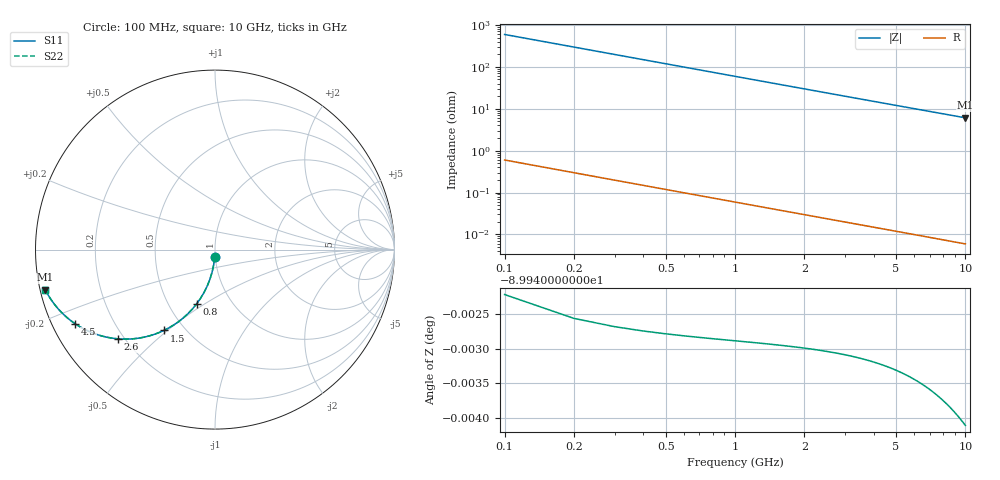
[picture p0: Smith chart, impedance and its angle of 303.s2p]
# Hz S RI R 50.00
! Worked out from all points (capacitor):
!   100 points, 100 MHz to 10 GHz, reference 50 ohm
!   read as one part in shunt: C = 2.69 pF near 100 MHz
!   lowest |Z| = 6.08 ohm at 10 GHz (marker M1)
!   S11 on the Smith chart (normalised r, x): 100 MHz: 0.99, -0.08; 800 MHz: 0.69, -0.46; 1.5 GHz: 0.39, -0.49; 2.6 GHz: 0.17, -0.38; 4.5 GHz: 0.07, -0.25; 10 GHz: 0.01, -0.12
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1e8  -0.00182 -0.0421  0.9982 -0.0422  0.9982 -0.0422  -0.00182 -0.0421
2e8  -0.00715 -0.0837  0.9928 -0.0838  0.9928 -0.0838  -0.00715 -0.0837
3e8  -0.0159 -0.1245  0.9841 -0.1246  0.9841 -0.1246  -0.0159 -0.1245
4e8  -0.0278 -0.1639  0.9722 -0.1641  0.9722 -0.1641  -0.0278 -0.1639
5e8  -0.0428 -0.2017  0.9572 -0.202  0.9572 -0.202  -0.0428 -0.2017
6e8  -0.0604 -0.2375  0.9396 -0.2378  0.9396 -0.2378  -0.0604 -0.2375
8e8  -0.1023 -0.3024  0.8977 -0.3028  0.8977 -0.3028  -0.1023 -0.3024
9e8  -0.126 -0.3311  0.874 -0.3316  0.874 -0.3316  -0.126 -0.3311
1.1e9  -0.1769 -0.3808  0.8231 -0.3814  0.8231 -0.3814  -0.1769 -0.3808
1.3e9  -0.2306 -0.4204  0.7694 -0.4211  0.7694 -0.4211  -0.2306 -0.4204
1.5e9  -0.2849 -0.4505  0.715 -0.4513  0.715 -0.4513  -0.2849 -0.4505
1.8e9  -0.3641 -0.4802  0.6359 -0.4812  0.6359 -0.4812  -0.3641 -0.4802
2.2e9  -0.4604 -0.4973  0.5396 -0.4985  0.5396 -0.4985  -0.4604 -0.4973
2.6e9  -0.5431 -0.4969  0.4569 -0.4984  0.4569 -0.4984  -0.5431 -0.4969
3e9  -0.6122 -0.4859  0.3878 -0.4876  0.3878 -0.4876  -0.6122 -0.4859
3.4e9  -0.6693 -0.469  0.3307 -0.4709  0.3307 -0.4709  -0.6693 -0.469
3.9e9  -0.7265 -0.4441  0.2735 -0.4463  0.2735 -0.4463  -0.7265 -0.4441
4.5e9  -0.7792 -0.413  0.2208 -0.4156  0.2208 -0.4156  -0.7792 -0.413
5.1e9  -0.8189 -0.3831  0.181 -0.386  0.181 -0.386  -0.8189 -0.3831
6.7e9  -0.886 -0.3153  0.1139 -0.3191  0.1139 -0.3191  -0.886 -0.3153
8.4e9  -0.9242 -0.2618  0.0758 -0.2665  0.0758 -0.2665  -0.9242 -0.2618
1e10  -0.9453 -0.2241  0.0547 -0.2298  0.0547 -0.2298  -0.9453 -0.2241
